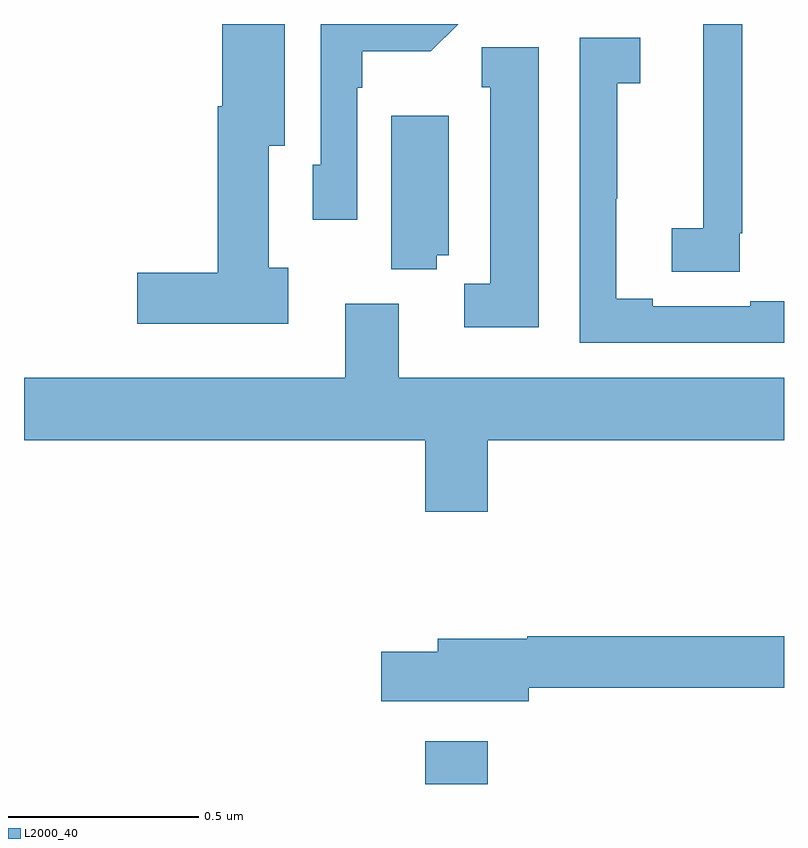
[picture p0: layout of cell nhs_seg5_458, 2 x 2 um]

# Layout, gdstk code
import gdstk
lib = gdstk.Library(unit=1e-6, precision=1e-09)
def R(c, l, rs):  # rectangles x0, y0, x1, y1
    for r in rs: c.add(gdstk.rectangle(r[:2], r[2:], *l))
def P(c, l, *ps):  # polygons
    for p in ps: c.add(gdstk.Polygon(p, *l))
L2000_40 = (2000, 40)

nhs_seg5_458 = lib.new_cell('nhs_seg5_458')
R(nhs_seg5_458, L2000_40, [(117.056,911.799,117.22,911.911)])
P(nhs_seg5_458, L2000_40, [(116.877,913.631),(116.89,913.631),(116.89,913.727),(117.071,913.727),(117.143,913.799),(116.781,913.799),(116.781,913.428),(116.76,913.428),(116.76,913.284),(116.877,913.284)],
  [(117.884,913.249),(117.89,913.249),(117.89,913.799),(117.788,913.799),(117.788,913.545),(117.787,913.545),(117.787,913.262),(117.705,913.262),(117.705,913.147),(117.884,913.147)],
  [(116.695,913.158),(116.644,913.158),(116.644,913.478),(116.686,913.478),(116.686,913.799),(116.522,913.799),(116.522,913.582),(116.51,913.582),(116.51,913.145),(116.298,913.145),(116.298,913.01),(116.695,913.01)],
  [(118,913.07),(117.911,913.07),(117.911,913.056),(117.655,913.056),(117.655,913.076),(117.559,913.076),(117.559,913.339),(117.561,913.339),(117.561,913.643),(117.622,913.643),(117.622,913.763),(117.462,913.763),(117.462,912.96),(118,912.96)],
  [(117.355,913.738),(117.205,913.738),(117.205,913.632),(117.227,913.632),(117.227,913.116),(117.159,913.116),(117.159,913.001),(117.355,913.001)],
  [(117.086,913.19),(117.118,913.19),(117.118,913.558),(116.966,913.558),(116.966,913.153),(117.086,913.153)],
  [(117.22,912.704),(118,912.704),(118,912.868),(116.986,912.868),(116.986,913.063),(116.846,913.063),(116.846,912.868),(116,912.868),(116,912.704),(117.056,912.704),(117.056,912.516),(117.22,912.516)],
  [(117.328,912.052),(118,912.052),(118,912.188),(117.324,912.188),(117.324,912.181),(117.089,912.181),(117.089,912.147),(116.94,912.147),(116.94,912.017),(117.328,912.017)])

lib.write_gds('nhs_seg5_458.gds')
